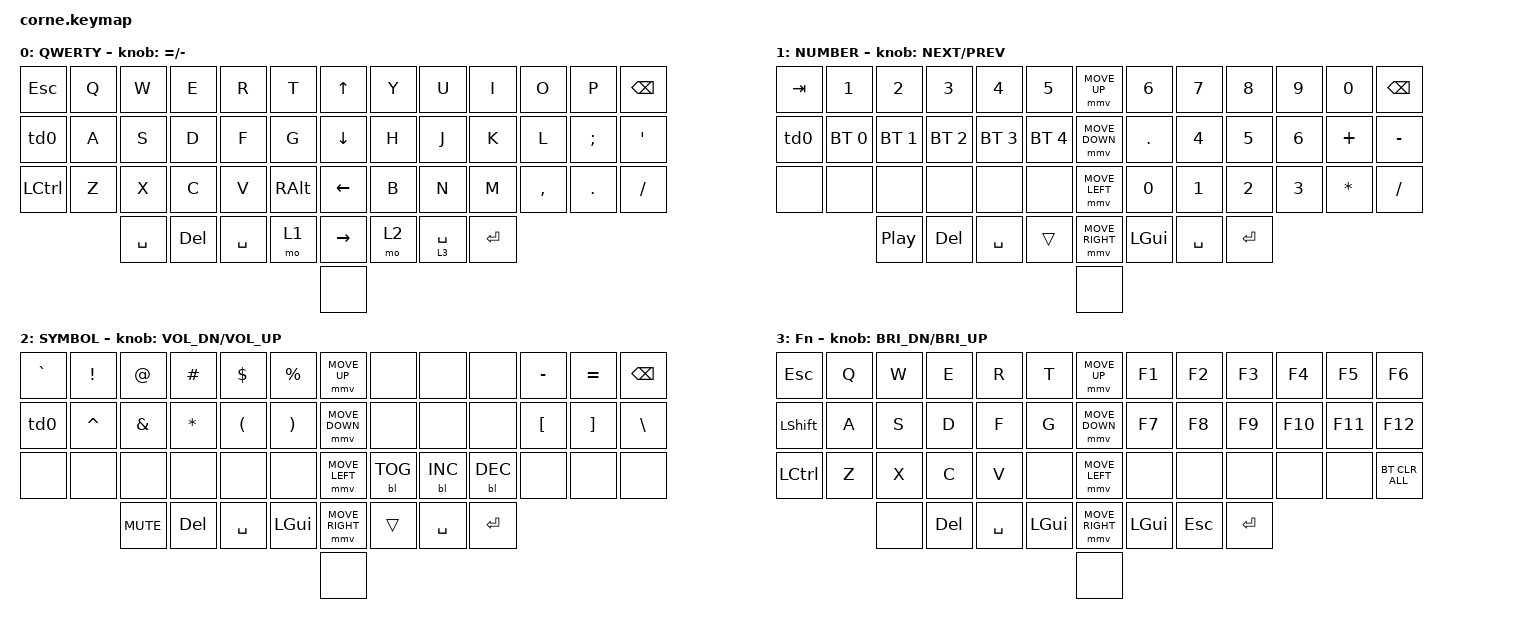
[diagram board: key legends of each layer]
#include <behaviors/mouse_keys.dtsi>
#include <dt-bindings/zmk/mouse.h>
#include <behaviors.dtsi>
#include <dt-bindings/zmk/backlight.h>
#include <dt-bindings/zmk/bt.h>
#include <dt-bindings/zmk/keys.h>
#include <dt-bindings/zmk/pointing.h>
#include <dt-bindings/zmk/pointing.h>
#include <dt-bindings/zmk/pointing.h>
#include <dt-bindings/zmk/rgb.h>

#define ZMK_MOUSE_DEFAULT_MOVE_VAL 1200  // 600
#define ZMK_MOUSE_DEFAULT_SCRL_VAL 20    // 10
#define U_MS_U &mmv MOVE_UP
#define U_MS_D &mmv MOVE_DOWN
#define U_MS_L &mmv MOVE_LEFT
#define U_MS_R &mmv MOVE_RIGHT

/ {
    behaviors {
        td0: td0 {
            compatible = "zmk,behavior-tap-dance";
            label = "TD0";
            #binding-cells = <0>;
            bindings = <&kp LEFT_SHIFT>, <&kp CAPS>;
        };

        td1: td1 {
            compatible = "zmk,behavior-tap-dance";
            label = "TD1";
            #binding-cells = <0>;
            bindings = <&mkp LCLK>, <&mkp RCLK>;
        };

        mmv {
            acceleration-exponent = <1>;      // 1
            time-to-max-speed-ms = <900>;    // 40
            delay-ms = <0>;                   // 0
        };

        msc {
            acceleration-exponent = <1>;      // 0
            time-to-max-speed-ms = <400>;      // 500
            delay-ms = <0>;                   // 10
        };
    };

    rgb_encoder: rgb_encoder {
        compatible = "zmk,behavior-sensor-rotate";
        label = "RGB_ENCODER";
        #sensor-binding-cells = <0>;
        bindings = <&rgb_ug RGB_BRI>, <&rgb_ug RGB_BRD>;
    };

    scroll_encoder: scroll_encoder {
        compatible = "zmk,behavior-sensor-rotate";
        #sensor-binding-cells = <0>;
        bindings = <&msc SCRL_DOWN>, <&msc SCRL_UP>;

        tap-ms = <30>;
    };

    keymap {
        compatible = "zmk,keymap";

        default_layer {
            display-name = "QWERTY";

            // --------------------------------------------------------------------------------
            // |  ESC  |  Q  |  W  |  E  |  R  |  T  |               UP    |  Y  |  U   |  I  |  O  |  P  | BKSP |
            // | SHIFT |  A  |  S  |  D  |  F  |  G  |               DN    |  H  |  J   |  K  |  L  |  ;  |   ’  |
            // | CTRL  |  Z  |  X  |  C  |  V  | ALT |               LEFT  |  B  |  N   |  M  |  ,  |  .  |   /  |
            //                     | DEL | SPC | LWR |               RIGHT | RSE | SPC  | ENT |
            //                                                       WIN

            bindings = <
&kp ESC    &kp Q  &kp W      &kp E    &kp R      &kp T       &kp UP_ARROW     &kp Y  &kp U        &kp I      &kp O      &kp P     &kp BSPC
&td0       &kp A  &kp S      &kp D    &kp F      &kp G       &kp DOWN_ARROW   &kp H  &kp J        &kp K      &kp L      &kp SEMI  &kp SQT
&kp LCTRL  &kp Z  &kp X      &kp C    &kp V      &kp RALT    &kp LEFT_ARROW   &kp B  &kp N        &kp M      &kp COMMA  &kp DOT   &kp FSLH
                  &kp SPACE  &kp DEL  &kp SPACE  &mo 1       &kp RIGHT_ARROW  &mo 2  &lt 3 SPACE  &kp ENTER
                                                             &none
            >;

            label = "QWERTY";
            sensor-bindings = <&inc_dec_kp EQUAL MINUS>;
        };

        lower_layer {
            display-name = "NUMBER";

            // -----------------------------------------------------------------------------------------
            // | TAB|  1  |  2  |  3  |  4  |  5  |   |  6  |  7  |  8  |  9  |  0  |BKSP|
            // |SHFT| BT1 | BT2 | BT3 | BT4 | BT5 |   |     |  4  |  5  |  6  |  +  | -  |
            // |    |     |     |     | M_2 | M_1 |   |  .  |  1  |  2  |  3  |  *  | /  |
            //                  | DEL | SPC |     |   | GUI | SPC | ENT |

            bindings = <
&kp TAB  &kp N1        &kp N2        &kp N3        &kp N4        &kp N5          &mmv MOVE_UP     &kp N6      &kp N7     &kp N8     &kp N9  &kp N0    &kp BSPC
&td0     &bt BT_SEL 0  &bt BT_SEL 1  &bt BT_SEL 2  &bt BT_SEL 3  &bt BT_SEL 4    &mmv MOVE_DOWN   &kp PERIOD  &kp N4     &kp N5     &kp N6  &kp PLUS  &kp MINUS
&none    &none         &none         &none         &none         &none           &mmv MOVE_LEFT   &kp N0      &kp N1     &kp N2     &kp N3  &kp STAR  &kp SLASH
                       &kp C_PP      &kp DEL       &kp SPACE     &trans          &mmv MOVE_RIGHT  &kp LGUI    &kp SPACE  &kp ENTER
                                                                                 &none
            >;

            label = "NUMBER";
            sensor-bindings = <&inc_dec_kp C_NEXT C_PREV>;
        };

        raise_layer {
            display-name = "SYMBOL";

            // -----------------------------------------------------------------------------------------
            // | `~  |  !  |  @  |  #  |  $  |  %  |             MUP     |     |     |     | -_ | += |BKSP|
            // | SHFT|  ^  |  &  |  *  |  (  |  )  |             MDN     |     |     |     | [  | ]  | \| |
            // |     |     |     |     |     |     |             MLEFT   |     |     |     |    |    |    |
            //                   | DEL | SPC | GUI |             MRIGHT  |     | SPC | ENT |

            bindings = <
&kp GRAVE  &kp EXCL   &kp AT      &kp HASH   &kp DLLR   &kp PRCNT    &mmv MOVE_UP     &none       &none       &none       &kp MINUS  &kp EQUAL  &kp BSPC
&td0       &kp CARET  &kp AMPS    &kp ASTRK  &kp LPAR   &kp RPAR     &mmv MOVE_DOWN   &none       &none       &none       &kp LBKT   &kp RBKT   &kp BSLH
&none      &none      &none       &none      &none      &none        &mmv MOVE_LEFT   &bl BL_TOG  &bl BL_INC  &bl BL_DEC  &none      &none      &none
                      &kp C_MUTE  &kp DEL    &kp SPACE  &kp LGUI     &mmv MOVE_RIGHT  &trans      &kp SPACE   &kp ENTER
                                                                     &none
            >;

            label = "SYMBOL";
            sensor-bindings = <&inc_dec_kp C_VOL_DN C_VOL_UP>;
        };

        layer_3 {
            display-name = "Fn";

            // -----------------------------------------------------------------------------------------
            // |  ESC |     |  UP  |  E  |     |     |             MUP     | F1 | F2  | F3  | F4  | F5  |  F6 |
            // | SHFT |LEFT |  DN  |RIGHT|     |     |             MDN     | F7 | F8  | F9  | F10 | F11 | F12 |
            // | CTRL |     |      |     |     |     |             MLEFT   |    |     |     |     |     | CLR |
            //                     | DEL | SPC | GUI |             MRIGHT  |GUI | ESC | ENT |

            bindings = <
&kp ESC     &kp Q  &kp W  &kp E    &kp R      &kp T       &mmv MOVE_UP     &kp F1    &kp F2   &kp F3     &kp F4   &kp F5   &kp F6
&kp LSHIFT  &kp A  &kp S  &kp D    &kp F      &kp G       &mmv MOVE_DOWN   &kp F7    &kp F8   &kp F9     &kp F10  &kp F11  &kp F12
&kp LCTRL   &kp Z  &kp X  &kp C    &kp V      &none       &mmv MOVE_LEFT   &none     &none    &none      &none    &none    &bt BT_CLR_ALL
                   &none  &kp DEL  &kp SPACE  &kp LGUI    &mmv MOVE_RIGHT  &kp LGUI  &kp ESC  &kp ENTER
                                                          &none
            >;

            label = "FN";
            sensor-bindings = <&inc_dec_kp C_BRI_DN C_BRI_UP>;
        };
    };
};
